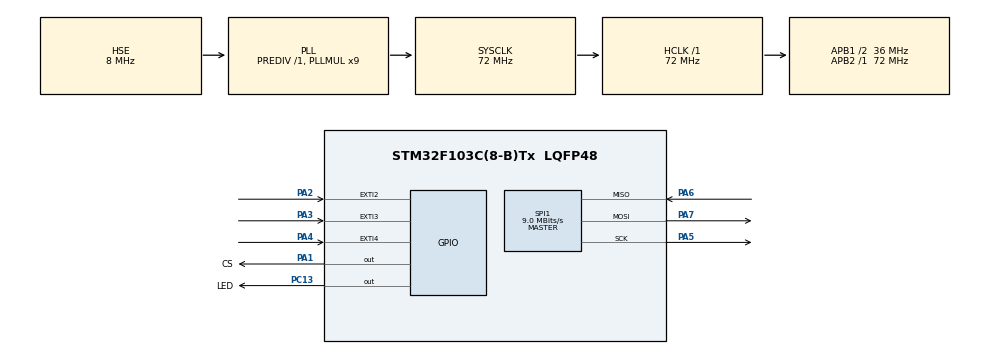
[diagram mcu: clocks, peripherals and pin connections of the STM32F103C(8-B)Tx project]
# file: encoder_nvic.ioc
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Mcu.Family=STM32F1
Mcu.Name=STM32F103C(8-B)Tx
Mcu.Package=LQFP48
NVIC.EXTI2_IRQn=true\:0\:0\:false\:false\:true\:true\:true
NVIC.EXTI3_IRQn=true\:0\:0\:false\:false\:true\:true\:true
NVIC.EXTI4_IRQn=true\:0\:0\:false\:false\:true\:true\:true
NVIC.PriorityGroup=NVIC_PRIORITYGROUP_4
NVIC.SPI1_IRQn=true\:0\:0\:false\:false\:true\:true\:true
PA1.GPIO_Label=CS
PA1.Signal=GPIO_Output
PA13.Mode=Serial_Wire
PA13.Signal=SYS_JTMS-SWDIO
PA14.Mode=Serial_Wire
PA14.Signal=SYS_JTCK-SWCLK
PA2.GPIO_ModeDefaultEXTI=GPIO_MODE_IT_RISING_FALLING
PA2.Signal=GPXTI2
PA3.GPIO_ModeDefaultEXTI=GPIO_MODE_IT_RISING_FALLING
PA3.Signal=GPXTI3
PA4.GPIO_ModeDefaultEXTI=GPIO_MODE_IT_RISING_FALLING
PA4.Signal=GPXTI4
PA5.Mode=Full_Duplex_Master
PA5.Signal=SPI1_SCK
PA6.Mode=Full_Duplex_Master
PA6.Signal=SPI1_MISO
PA7.Mode=Full_Duplex_Master
PA7.Signal=SPI1_MOSI
PC13-TAMPER-RTC.GPIO_Label=LED
PC13-TAMPER-RTC.Signal=GPIO_Output
PD0-OSC_IN.Mode=HSE-External-Oscillator
PD0-OSC_IN.Signal=RCC_OSC_IN
PD1-OSC_OUT.Mode=HSE-External-Oscillator
PD1-OSC_OUT.Signal=RCC_OSC_OUT
ProjectManager.HeapSize=0x200
ProjectManager.StackSize=0x400
ProjectManager.TargetToolchain=STM32CubeIDE
RCC.AHBFreq_Value=72000000
RCC.APB1CLKDivider=RCC_HCLK_DIV2
RCC.APB1Freq_Value=36000000
RCC.APB1TimFreq_Value=72000000
RCC.APB2Freq_Value=72000000
RCC.APB2TimFreq_Value=72000000
RCC.HCLKFreq_Value=72000000
RCC.PLLMUL=RCC_PLL_MUL9
RCC.PLLSourceVirtual=RCC_PLLSOURCE_HSE
RCC.SYSCLKFreq_VALUE=72000000
RCC.SYSCLKSource=RCC_SYSCLKSOURCE_PLLCLK
RCC.USBFreq_Value=72000000
SPI1.BaudRatePrescaler=SPI_BAUDRATEPRESCALER_8
SPI1.CalculateBaudRate=9.0 MBits/s
SPI1.Direction=SPI_DIRECTION_2LINES
SPI1.Mode=SPI_MODE_MASTER
SPI1.VirtualType=VM_MASTER
board=custom

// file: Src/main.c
/* USER CODE BEGIN Header */
/**
 ******************************************************************************
 * @file           : main.c
 * @brief          : Main program body
 ******************************************************************************
 * @attention
 *
 * <h2><center>&copy; Copyright (c) 2020 STMicroelectronics.
 * All rights reserved.</center></h2>
 *
 * This software component is licensed by ST under BSD 3-Clause license,
 * the "License"; You may not use this file except in compliance with the
 * License. You may obtain a copy of the License at:
 *                        opensource.org/licenses/BSD-3-Clause
 *
 ******************************************************************************
 */
/* USER CODE END Header */

#include "main.h"

/* USER CODE BEGIN Includes */
#include "max7219_lib.h"
#include <stdbool.h>
bool send_to_display;
extern uint8_t status_old;
int16_t A;
/* USER CODE END Includes */

SPI_HandleTypeDef hspi1;

void SystemClock_Config(void);
static void MX_GPIO_Init(void);
static void MX_SPI1_Init(void);

int main(void) {

	/* MCU Configuration--------------------------------------------------------*/

	/* Reset of all peripherals, Initializes the Flash interface and the Systick. */
	HAL_Init();

	/* Configure the system clock */
	SystemClock_Config();

	/* Initialize all configured peripherals */
	MX_GPIO_Init();
	MX_SPI1_Init();
	/* USER CODE BEGIN 2 */
	HAL_Delay(100);
	max7219_Init();
	if (!(GPIOA->IDR & GPIO_PIN_2) && (!(GPIOA->IDR & GPIO_PIN_3))) {
		status_old = 0x00;
	} else if ((GPIOA->IDR & GPIO_PIN_2) && (!(GPIOA->IDR & GPIO_PIN_3))) {
		status_old = 0x10;
	} else if ((GPIOA->IDR & GPIO_PIN_2) && (GPIOA->IDR & GPIO_PIN_3)) {
		status_old = 0x11;
	} else if (!(GPIOA->IDR & GPIO_PIN_2) && (GPIOA->IDR & GPIO_PIN_3)) {
		status_old = 0x01;
	}

	A = 0;
	max7219_Send_int32_t(A);
	//max7219_Send_int32_t(54654897);
	/* USER CODE END 2 */

	/* Infinite loop */
	while (1) {

		/* USER CODE BEGIN 3 */
		if (send_to_display) {
			A >= 2500 ? A = 2500 : A;
			/*if (A >= 2500) {
			 A = 2500;
			 } else {
			 A = A;
			 }*/
			A <= 0 ? A = 0 : A;
			/*if (A <= 0) {
			 A = 0;
			 } else {
			 A = A;
			 }*/
			max7219_Send_int32_t(A);
			send_to_display = 0;
		}
	}
	/* USER CODE END 3 */
}

void SystemClock_Config(void) {
	RCC_OscInitTypeDef RCC_OscInitStruct = { 0 };
	RCC_ClkInitTypeDef RCC_ClkInitStruct = { 0 };

	/** Initializes the CPU, AHB and APB busses clocks
	 */
	RCC_OscInitStruct.OscillatorType = RCC_OSCILLATORTYPE_HSE;
	RCC_OscInitStruct.HSEState = RCC_HSE_ON;
	RCC_OscInitStruct.HSEPredivValue = RCC_HSE_PREDIV_DIV1;
	RCC_OscInitStruct.HSIState = RCC_HSI_ON;
	RCC_OscInitStruct.PLL.PLLState = RCC_PLL_ON;
	RCC_OscInitStruct.PLL.PLLSource = RCC_PLLSOURCE_HSE;
	RCC_OscInitStruct.PLL.PLLMUL = RCC_PLL_MUL9;
	if (HAL_RCC_OscConfig(&RCC_OscInitStruct) != HAL_OK) {
		Error_Handler();
	}
	/** Initializes the CPU, AHB and APB busses clocks
	 */
	RCC_ClkInitStruct.ClockType = RCC_CLOCKTYPE_HCLK | RCC_CLOCKTYPE_SYSCLK
			| RCC_CLOCKTYPE_PCLK1 | RCC_CLOCKTYPE_PCLK2;
	RCC_ClkInitStruct.SYSCLKSource = RCC_SYSCLKSOURCE_PLLCLK;
	RCC_ClkInitStruct.AHBCLKDivider = RCC_SYSCLK_DIV1;
	RCC_ClkInitStruct.APB1CLKDivider = RCC_HCLK_DIV2;
	RCC_ClkInitStruct.APB2CLKDivider = RCC_HCLK_DIV1;

	if (HAL_RCC_ClockConfig(&RCC_ClkInitStruct, FLASH_LATENCY_2) != HAL_OK) {
		Error_Handler();
	}
}

static void MX_SPI1_Init(void) {

	/* SPI1 parameter configuration*/
	hspi1.Instance = SPI1;
	hspi1.Init.Mode = SPI_MODE_MASTER;
	hspi1.Init.Direction = SPI_DIRECTION_2LINES;
	hspi1.Init.DataSize = SPI_DATASIZE_8BIT;
	hspi1.Init.CLKPolarity = SPI_POLARITY_LOW;
	hspi1.Init.CLKPhase = SPI_PHASE_1EDGE;
	hspi1.Init.NSS = SPI_NSS_SOFT;
	hspi1.Init.BaudRatePrescaler = SPI_BAUDRATEPRESCALER_8;
	hspi1.Init.FirstBit = SPI_FIRSTBIT_MSB;
	hspi1.Init.TIMode = SPI_TIMODE_DISABLE;
	hspi1.Init.CRCCalculation = SPI_CRCCALCULATION_DISABLE;
	hspi1.Init.CRCPolynomial = 10;
	if (HAL_SPI_Init(&hspi1) != HAL_OK) {
		Error_Handler();
	}

}

static void MX_GPIO_Init(void) {
	GPIO_InitTypeDef GPIO_InitStruct = { 0 };

	/* GPIO Ports Clock Enable */
	__HAL_RCC_GPIOC_CLK_ENABLE();
	__HAL_RCC_GPIOD_CLK_ENABLE();
	__HAL_RCC_GPIOA_CLK_ENABLE();

	/*Configure GPIO pin Output Level */
	HAL_GPIO_WritePin(LED_GPIO_Port, LED_Pin, GPIO_PIN_SET);

	/*Configure GPIO pin Output Level */
	HAL_GPIO_WritePin(CS_GPIO_Port, CS_Pin, GPIO_PIN_RESET);

	/*Configure GPIO pin : LED_Pin */
	GPIO_InitStruct.Pin = LED_Pin;
	GPIO_InitStruct.Mode = GPIO_MODE_OUTPUT_PP;
	GPIO_InitStruct.Pull = GPIO_NOPULL;
	GPIO_InitStruct.Speed = GPIO_SPEED_FREQ_LOW;
	HAL_GPIO_Init(LED_GPIO_Port, &GPIO_InitStruct);

	/*Configure GPIO pin : CS_Pin */
	GPIO_InitStruct.Pin = CS_Pin;
	GPIO_InitStruct.Mode = GPIO_MODE_OUTPUT_PP;
	GPIO_InitStruct.Pull = GPIO_NOPULL;
	GPIO_InitStruct.Speed = GPIO_SPEED_FREQ_LOW;
	HAL_GPIO_Init(CS_GPIO_Port, &GPIO_InitStruct);

	/*Configure GPIO pins : PA2 PA3 PA4 */
	GPIO_InitStruct.Pin = GPIO_PIN_2 | GPIO_PIN_3 | GPIO_PIN_4;
	GPIO_InitStruct.Mode = GPIO_MODE_IT_RISING_FALLING;
	GPIO_InitStruct.Pull = GPIO_NOPULL;
	HAL_GPIO_Init(GPIOA, &GPIO_InitStruct);

	/* EXTI interrupt init*/
	HAL_NVIC_SetPriority(EXTI2_IRQn, 0, 0);
	HAL_NVIC_EnableIRQ(EXTI2_IRQn);

	HAL_NVIC_SetPriority(EXTI3_IRQn, 0, 0);
	HAL_NVIC_EnableIRQ(EXTI3_IRQn);

	HAL_NVIC_SetPriority(EXTI4_IRQn, 0, 0);
	HAL_NVIC_EnableIRQ(EXTI4_IRQn);

}

void Error_Handler(void) {
}

/************************ (C) COPYRIGHT STMicroelectronics *****END OF FILE****/
